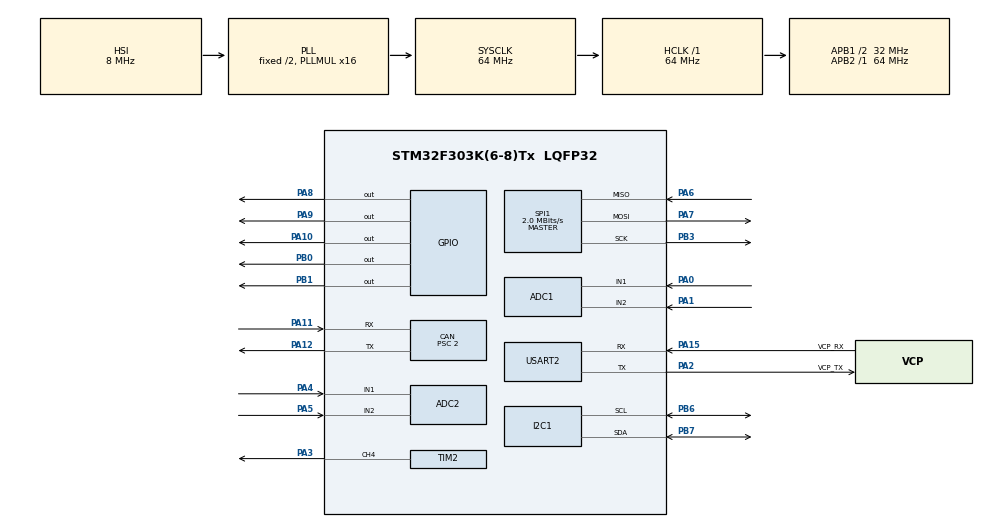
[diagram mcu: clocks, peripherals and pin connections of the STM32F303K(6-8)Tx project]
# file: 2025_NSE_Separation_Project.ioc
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ADC1.Channel-0\#ChannelRegularConversion=ADC_CHANNEL_1
ADC1.NbrOfConversionFlag=1
ADC1.Offset-0\#ChannelRegularConversion=0
ADC1.OffsetNumber-0\#ChannelRegularConversion=ADC_OFFSET_NONE
ADC1.Rank-0\#ChannelRegularConversion=1
ADC1.SamplingTime-0\#ChannelRegularConversion=ADC_SAMPLETIME_1CYCLE_5
ADC1.SubFamily=STM32F303x8
ADC1.master=1
ADC2.Channel-0\#ChannelRegularConversion=ADC_CHANNEL_1
ADC2.NbrOfConversionFlag=1
ADC2.Offset-0\#ChannelRegularConversion=0
ADC2.OffsetNumber-0\#ChannelRegularConversion=ADC_OFFSET_NONE
ADC2.Rank-0\#ChannelRegularConversion=1
ADC2.SamplingTime-0\#ChannelRegularConversion=ADC_SAMPLETIME_1CYCLE_5
ADC2.SubFamily=STM32F303x8
CAN.BS1=CAN_BS1_13TQ
CAN.BS2=CAN_BS2_2TQ
CAN.CalculateBaudRate=1000000
CAN.CalculateTimeBit=1000
CAN.CalculateTimeQuantum=62.5
CAN.Prescaler=2
I2C1.Timing=0x00201D2B
Mcu.Family=STM32F3
Mcu.Name=STM32F303K(6-8)Tx
Mcu.Package=LQFP32
NVIC.CAN_RX0_IRQn=true\:0\:0\:false\:false\:true\:true\:true\:true
NVIC.CAN_RX1_IRQn=true\:0\:0\:false\:false\:true\:true\:true\:true
NVIC.CAN_SCE_IRQn=true\:0\:0\:false\:false\:true\:true\:true\:true
NVIC.CAN_TX_IRQn=true\:0\:0\:false\:false\:true\:true\:true\:true
NVIC.PriorityGroup=NVIC_PRIORITYGROUP_4
PA0.Mode=IN1-Single-Ended
PA0.Signal=ADC1_IN1
PA1.Mode=IN2-Single-Ended
PA1.Signal=ADC1_IN2
PA10.Signal=GPIO_Output
PA11.Mode=CAN_Activate
PA11.Signal=CAN_RX
PA12.Mode=CAN_Activate
PA12.Signal=CAN_TX
PA13.GPIO_Label=SWDIO
PA13.Mode=Serial_Wire
PA13.Signal=SYS_JTMS-SWDIO
PA14.GPIO_Label=SWCLK
PA14.Mode=Serial_Wire
PA14.Signal=SYS_JTCK-SWCLK
PA15.GPIO_Label=VCP_RX
PA15.Mode=Asynchronous
PA15.Signal=USART2_RX
PA2.GPIO_Label=VCP_TX
PA2.Mode=Asynchronous
PA2.Signal=USART2_TX
PA3.Signal=S_TIM2_CH4
PA4.Mode=IN1-Single-Ended
PA4.Signal=ADC2_IN1
PA5.Mode=IN2-Single-Ended
PA5.Signal=ADC2_IN2
PA6.Mode=Full_Duplex_Master
PA6.Signal=SPI1_MISO
PA7.Mode=Full_Duplex_Master
PA7.Signal=SPI1_MOSI
PA8.Signal=GPIO_Output
PA9.Signal=GPIO_Output
PB0.Signal=GPIO_Output
PB1.Signal=GPIO_Output
PB3.Mode=Full_Duplex_Master
PB3.Signal=SPI1_SCK
PB6.Mode=I2C
PB6.Signal=I2C1_SCL
PB7.Mode=I2C
PB7.Signal=I2C1_SDA
PF0\ /\ OSC_IN.GPIO_Label=MCO
PF0\ /\ OSC_IN.Mode=HSE-External-Clock-Source
PF0\ /\ OSC_IN.Signal=RCC_OSC_IN
ProjectManager.HeapSize=0x200
ProjectManager.StackSize=0x400
ProjectManager.TargetToolchain=CMake
RCC.AHBFreq_Value=64000000
RCC.APB1CLKDivider=RCC_HCLK_DIV2
RCC.APB1Freq_Value=32000000
RCC.APB1TimFreq_Value=64000000
RCC.APB2Freq_Value=64000000
RCC.APB2TimFreq_Value=64000000
RCC.CortexFreq_Value=64000000
RCC.HCLKFreq_Value=64000000
RCC.HSE_VALUE=8000000
RCC.HSI_VALUE=8000000
RCC.PLLMUL=RCC_PLL_MUL16
RCC.SYSCLKFreq_VALUE=64000000
RCC.SYSCLKSourceVirtual=RCC_SYSCLKSOURCE_PLLCLK
SH.S_TIM2_CH4.0=TIM2_CH4,PWM Generation4 CH4
SPI1.BaudRatePrescaler=SPI_BAUDRATEPRESCALER_32
SPI1.CalculateBaudRate=2.0 MBits/s
SPI1.Direction=SPI_DIRECTION_2LINES
SPI1.Mode=SPI_MODE_MASTER
SPI1.VirtualType=VM_MASTER
TIM2.Channel-PWM\ Generation4\ CH4=TIM_CHANNEL_4
TIM2.Period=80
USART2.VirtualMode-Asynchronous=VM_ASYNC
VP_TIM2_VS_ClockSourceINT.Mode=Internal
board=NUCLEO-F303K8

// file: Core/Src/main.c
/* USER CODE BEGIN Header */
/**
  ******************************************************************************
  * @file           : main.c
  * @brief          : Main program body
  ******************************************************************************
  * @attention
  *
  * Copyright (c) 2024 STMicroelectronics.
  * All rights reserved.
  *
  * This software is licensed under terms that can be found in the LICENSE file
  * in the root directory of this software component.
  * If no LICENSE file comes with this software, it is provided AS-IS.
  *
  ******************************************************************************
  */
/* USER CODE END Header */
#include "main.h"

/* USER CODE BEGIN Includes */
#include <stdio.h>

#include "bmp280.h"

/* USER CODE END Includes */

ADC_HandleTypeDef hadc1;
ADC_HandleTypeDef hadc2;

CAN_HandleTypeDef hcan;

I2C_HandleTypeDef hi2c1;

SPI_HandleTypeDef hspi1;

TIM_HandleTypeDef htim2;

UART_HandleTypeDef huart2;

/* USER CODE BEGIN PV */
BMP280_HandleTypedef bmp280;

float pressure, temperature, humidity;

uint16_t size;
uint8_t Data[256];
static bool flag = false;
float current;
float pressure;
/* USER CODE END PV */

void SystemClock_Config(void);
static void MX_GPIO_Init(void);
static void MX_USART2_UART_Init(void);
static void MX_ADC1_Init(void);
static void MX_ADC2_Init(void);
static void MX_CAN_Init(void);
static void MX_I2C1_Init(void);
static void MX_SPI1_Init(void);
static void MX_TIM2_Init(void);
/* USER CODE BEGIN PFP */
void send_CAN_Message(uint32_t stdId, uint8_t *data, uint8_t dlc);
void CAN_Receive(CAN_HandleTypeDef *hcan);
float GetAccl();
void ReadPressAndWriteToNORFlash();
/* USER CODE END PFP */

int main(void)
{

  /* MCU Configuration--------------------------------------------------------*/

  /* Reset of all peripherals, Initializes the Flash interface and the Systick. */
  HAL_Init();

  /* Configure the system clock */
  SystemClock_Config();

  /* Initialize all configured peripherals */
  MX_GPIO_Init();
  MX_USART2_UART_Init();
  MX_ADC1_Init();
  MX_ADC2_Init();
  MX_CAN_Init();
  MX_I2C1_Init();
  MX_SPI1_Init();
  MX_TIM2_Init();
  /* USER CODE BEGIN 2 */
  /*
  bmp280.addr = BMP280_I2C_ADDRESS_0;
  bmp280.i2c = &hi2c1;

bmp280_init_default_params(&bmp280.params);
  while (!bmp280_init(&bmp280, &bmp280.params))
  {
	  printf("BME280 initialization failed\r\n");
	  HAL_Delay(2000);
  }
*/

  HAL_TIM_PWM_Start(&htim2, TIM_CHANNEL_4);
  __HAL_TIM_SET_COMPARE(&htim2, TIM_CHANNEL_4, 10);

  /*
  HAL_Delay(4000);
  HAL_TIM_PWM_Stop(&htim2, TIM_CHANNEL_4);
  */
  /*ココ！！*/

  CAN_FilterTypeDef filter;
  filter.FilterActivation = 1;
  filter.FilterBank = 0;
  filter.FilterFIFOAssignment = 0;
  filter.FilterMode = CAN_FILTERMODE_IDMASK;
  filter.FilterScale = CAN_FILTERSCALE_32BIT;
  filter.FilterIdHigh = 0x0000;
  filter.FilterIdLow = 0x0000;
  filter.FilterMaskIdHigh = 0x0000;
  filter.FilterMaskIdLow = 0x0000;
  HAL_CAN_ConfigFilter(&hcan, &filter);

  HAL_CAN_Start(&hcan);
  HAL_CAN_ActivateNotification(&hcan, CAN_IT_RX_FIFO0_MSG_PENDING);

/* BME280のプログラム
	HAL_Delay(100);
		while (!bmp280_read_float(&bmp280, &temperature, &pressure, &humidity))
		{
			printf("Temperature/pressure reading failed\r\n");
			HAL_Delay(2000);
		}

		printf("Pressure: %d Pa, Temperature: %d C\r\n",(int)pressure, (int)temperature*100);
		//printf(", Humidity: %d\r\n", humidity*100);

	HAL_Delay(2000);

*/

  typedef enum {
    SEP_Phase_0,
    SEP_Phase_1,
    SEP_Phase_2,
    SEP_Phase_3
  } SystemPhase_t;

  //フェーズ保持・初期フェーズ設定
  SystemPhase_t SEP_Phase = SEP_Phase_0;

  //SEP_Phase_2の開始時刻設定
  uint32_t Phase2_StartTime = 0;

  //タイマーの閾値（分離ニクロム線加熱終了から30秒）
  const uint32_t ThresholdTime = 30000;

  /* USER CODE END 2 */

  /* Infinite loop */
  /* USER CODE BEGIN WHILE */

  //分離の独自フェーズ

  while (1)
  {

    //send_CAN_Message(0x123, Data, 8);
    //CAN_Receive(&hcan);

    //気圧データをNORフラッシュに記録する関数
    ReadPressAndWriteToNORFlash();

    switch (SEP_Phase) {
      //SEP_Phase_0: 電源ON → 頂点検知（MAIN）
      //SEP_Phase_1: 分離ニクロム線加熱
      //SEP_Phase_2: [終端検知　 → リーフィングニクロム線加熱] OR [タイマー → リーフィングニクロム線加熱]
      //SEP_Phase_3: 全ニクロム線加熱終了

      case SEP_Phase_0:

          if (flag = true) {
            SEP_Phase = SEP_Phase_1;
          }
          break;

      case SEP_Phase_1:
          HAL_TIM_PWM_Start(&htim2, TIM_CHANNEL_4);
          __HAL_TIM_SET_COMPARE(&htim2, TIM_CHANNEL_4, 10);
          HAL_Delay(4000);
          HAL_TIM_PWM_Stop(&htim2, TIM_CHANNEL_4);
          /*もう一つのニクロム線加熱*/
          SEP_Phase = SEP_Phase_2;
          Phase2_StartTime = HAL_GetTick();
          break;

      case SEP_Phase_2:
          if (GetAccl() == 0) {
            /*ニクロム線加熱×２*/
            SEP_Phase = SEP_Phase_3;

          } else if ((HAL_GetTick() - Phase2_StartTime) >= ThresholdTime) {
            /*ニクロム線加熱×２*/
            SEP_Phase = SEP_Phase_3;
          }
          break;

      case SEP_Phase_3:
          break;

      default:
          break;
    }

    /* USER CODE END WHILE */

  }
}

void SystemClock_Config(void)
{
  RCC_OscInitTypeDef RCC_OscInitStruct = {0};
  RCC_ClkInitTypeDef RCC_ClkInitStruct = {0};
  RCC_PeriphCLKInitTypeDef PeriphClkInit = {0};

  /** Initializes the RCC Oscillators according to the specified parameters
  * in the RCC_OscInitTypeDef structure.
  */
  RCC_OscInitStruct.OscillatorType = RCC_OSCILLATORTYPE_HSI;
  RCC_OscInitStruct.HSIState = RCC_HSI_ON;
  RCC_OscInitStruct.HSICalibrationValue = RCC_HSICALIBRATION_DEFAULT;
  RCC_OscInitStruct.PLL.PLLState = RCC_PLL_ON;
  RCC_OscInitStruct.PLL.PLLSource = RCC_PLLSOURCE_HSI;
  RCC_OscInitStruct.PLL.PLLMUL = RCC_PLL_MUL16;
  if (HAL_RCC_OscConfig(&RCC_OscInitStruct) != HAL_OK)
  {
    Error_Handler();
  }

  /** Initializes the CPU, AHB and APB buses clocks
  */
  RCC_ClkInitStruct.ClockType = RCC_CLOCKTYPE_HCLK|RCC_CLOCKTYPE_SYSCLK
                              |RCC_CLOCKTYPE_PCLK1|RCC_CLOCKTYPE_PCLK2;
  RCC_ClkInitStruct.SYSCLKSource = RCC_SYSCLKSOURCE_PLLCLK;
  RCC_ClkInitStruct.AHBCLKDivider = RCC_SYSCLK_DIV1;
  RCC_ClkInitStruct.APB1CLKDivider = RCC_HCLK_DIV2;
  RCC_ClkInitStruct.APB2CLKDivider = RCC_HCLK_DIV1;

  if (HAL_RCC_ClockConfig(&RCC_ClkInitStruct, FLASH_LATENCY_2) != HAL_OK)
  {
    Error_Handler();
  }
  PeriphClkInit.PeriphClockSelection = RCC_PERIPHCLK_I2C1|RCC_PERIPHCLK_ADC12;
  PeriphClkInit.Adc12ClockSelection = RCC_ADC12PLLCLK_DIV1;
  PeriphClkInit.I2c1ClockSelection = RCC_I2C1CLKSOURCE_HSI;
  if (HAL_RCCEx_PeriphCLKConfig(&PeriphClkInit) != HAL_OK)
  {
    Error_Handler();
  }
}

static void MX_ADC1_Init(void)
{

  ADC_MultiModeTypeDef multimode = {0};
  ADC_ChannelConfTypeDef sConfig = {0};

  /** Common config
  */
  hadc1.Instance = ADC1;
  hadc1.Init.ClockPrescaler = ADC_CLOCK_ASYNC_DIV1;
  hadc1.Init.Resolution = ADC_RESOLUTION_12B;
  hadc1.Init.ScanConvMode = ADC_SCAN_DISABLE;
  hadc1.Init.ContinuousConvMode = DISABLE;
  hadc1.Init.DiscontinuousConvMode = DISABLE;
  hadc1.Init.ExternalTrigConvEdge = ADC_EXTERNALTRIGCONVEDGE_NONE;
  hadc1.Init.ExternalTrigConv = ADC_SOFTWARE_START;
  hadc1.Init.DataAlign = ADC_DATAALIGN_RIGHT;
  hadc1.Init.NbrOfConversion = 1;
  hadc1.Init.DMAContinuousRequests = DISABLE;
  hadc1.Init.EOCSelection = ADC_EOC_SINGLE_CONV;
  hadc1.Init.LowPowerAutoWait = DISABLE;
  hadc1.Init.Overrun = ADC_OVR_DATA_OVERWRITTEN;
  if (HAL_ADC_Init(&hadc1) != HAL_OK)
  {
    Error_Handler();
  }

  /** Configure the ADC multi-mode
  */
  multimode.Mode = ADC_MODE_INDEPENDENT;
  if (HAL_ADCEx_MultiModeConfigChannel(&hadc1, &multimode) != HAL_OK)
  {
    Error_Handler();
  }

  /** Configure Regular Channel
  */
  sConfig.Channel = ADC_CHANNEL_1;
  sConfig.Rank = ADC_REGULAR_RANK_1;
  sConfig.SingleDiff = ADC_SINGLE_ENDED;
  sConfig.SamplingTime = ADC_SAMPLETIME_1CYCLE_5;
  sConfig.OffsetNumber = ADC_OFFSET_NONE;
  sConfig.Offset = 0;
  if (HAL_ADC_ConfigChannel(&hadc1, &sConfig) != HAL_OK)
  {
    Error_Handler();
  }

}

static void MX_ADC2_Init(void)
{

  ADC_ChannelConfTypeDef sConfig = {0};

  /** Common config
  */
  hadc2.Instance = ADC2;
  hadc2.Init.ClockPrescaler = ADC_CLOCK_ASYNC_DIV1;
  hadc2.Init.Resolution = ADC_RESOLUTION_12B;
  hadc2.Init.ScanConvMode = ADC_SCAN_DISABLE;
  hadc2.Init.ContinuousConvMode = DISABLE;
  hadc2.Init.DiscontinuousConvMode = DISABLE;
  hadc2.Init.ExternalTrigConvEdge = ADC_EXTERNALTRIGCONVEDGE_NONE;
  hadc2.Init.ExternalTrigConv = ADC_SOFTWARE_START;
  hadc2.Init.DataAlign = ADC_DATAALIGN_RIGHT;
  hadc2.Init.NbrOfConversion = 1;
  hadc2.Init.DMAContinuousRequests = DISABLE;
  hadc2.Init.EOCSelection = ADC_EOC_SINGLE_CONV;
  hadc2.Init.LowPowerAutoWait = DISABLE;
  hadc2.Init.Overrun = ADC_OVR_DATA_OVERWRITTEN;
  if (HAL_ADC_Init(&hadc2) != HAL_OK)
  {
    Error_Handler();
  }

  /** Configure Regular Channel
  */
  sConfig.Channel = ADC_CHANNEL_1;
  sConfig.Rank = ADC_REGULAR_RANK_1;
  sConfig.SingleDiff = ADC_SINGLE_ENDED;
  sConfig.SamplingTime = ADC_SAMPLETIME_1CYCLE_5;
  sConfig.OffsetNumber = ADC_OFFSET_NONE;
  sConfig.Offset = 0;
  if (HAL_ADC_ConfigChannel(&hadc2, &sConfig) != HAL_OK)
  {
    Error_Handler();
  }

}

static void MX_CAN_Init(void)
{

  hcan.Instance = CAN;
  hcan.Init.Prescaler = 2;
  hcan.Init.Mode = CAN_MODE_NORMAL;
  hcan.Init.SyncJumpWidth = CAN_SJW_1TQ;
  hcan.Init.TimeSeg1 = CAN_BS1_13TQ;
  hcan.Init.TimeSeg2 = CAN_BS2_2TQ;
  hcan.Init.TimeTriggeredMode = DISABLE;
  hcan.Init.AutoBusOff = DISABLE;
  hcan.Init.AutoWakeUp = DISABLE;
  hcan.Init.AutoRetransmission = DISABLE;
  hcan.Init.ReceiveFifoLocked = DISABLE;
  hcan.Init.TransmitFifoPriority = DISABLE;
  if (HAL_CAN_Init(&hcan) != HAL_OK)
  {
    Error_Handler();
  }

}

static void MX_I2C1_Init(void)
{

  hi2c1.Instance = I2C1;
  hi2c1.Init.Timing = 0x00201D2B;
  hi2c1.Init.OwnAddress1 = 0;
  hi2c1.Init.AddressingMode = I2C_ADDRESSINGMODE_7BIT;
  hi2c1.Init.DualAddressMode = I2C_DUALADDRESS_DISABLE;
  hi2c1.Init.OwnAddress2 = 0;
  hi2c1.Init.OwnAddress2Masks = I2C_OA2_NOMASK;
  hi2c1.Init.GeneralCallMode = I2C_GENERALCALL_DISABLE;
  hi2c1.Init.NoStretchMode = I2C_NOSTRETCH_DISABLE;
  if (HAL_I2C_Init(&hi2c1) != HAL_OK)
  {
    Error_Handler();
  }

  /** Configure Analogue filter
  */
  if (HAL_I2CEx_ConfigAnalogFilter(&hi2c1, I2C_ANALOGFILTER_ENABLE) != HAL_OK)
  {
    Error_Handler();
  }

  /** Configure Digital filter
  */
  if (HAL_I2CEx_ConfigDigitalFilter(&hi2c1, 0) != HAL_OK)
  {
    Error_Handler();
  }

}

static void MX_SPI1_Init(void)
{

  /* SPI1 parameter configuration*/
  hspi1.Instance = SPI1;
  hspi1.Init.Mode = SPI_MODE_MASTER;
  hspi1.Init.Direction = SPI_DIRECTION_2LINES;
  hspi1.Init.DataSize = SPI_DATASIZE_4BIT;
  hspi1.Init.CLKPolarity = SPI_POLARITY_LOW;
  hspi1.Init.CLKPhase = SPI_PHASE_1EDGE;
  hspi1.Init.NSS = SPI_NSS_SOFT;
  hspi1.Init.BaudRatePrescaler = SPI_BAUDRATEPRESCALER_32;
  hspi1.Init.FirstBit = SPI_FIRSTBIT_MSB;
  hspi1.Init.TIMode = SPI_TIMODE_DISABLE;
  hspi1.Init.CRCCalculation = SPI_CRCCALCULATION_DISABLE;
  hspi1.Init.CRCPolynomial = 7;
  hspi1.Init.CRCLength = SPI_CRC_LENGTH_DATASIZE;
  hspi1.Init.NSSPMode = SPI_NSS_PULSE_ENABLE;
  if (HAL_SPI_Init(&hspi1) != HAL_OK)
  {
    Error_Handler();
  }

}

static void MX_TIM2_Init(void)
{

  TIM_ClockConfigTypeDef sClockSourceConfig = {0};
  TIM_MasterConfigTypeDef sMasterConfig = {0};
  TIM_OC_InitTypeDef sConfigOC = {0};

  htim2.Instance = TIM2;
  htim2.Init.Prescaler = 0;
  htim2.Init.CounterMode = TIM_COUNTERMODE_UP;
  htim2.Init.Period = 80;
  htim2.Init.ClockDivision = TIM_CLOCKDIVISION_DIV1;
  htim2.Init.AutoReloadPreload = TIM_AUTORELOAD_PRELOAD_DISABLE;
  if (HAL_TIM_Base_Init(&htim2) != HAL_OK)
  {
    Error_Handler();
  }
  sClockSourceConfig.ClockSource = TIM_CLOCKSOURCE_INTERNAL;
  if (HAL_TIM_ConfigClockSource(&htim2, &sClockSourceConfig) != HAL_OK)
  {
    Error_Handler();
  }
  if (HAL_TIM_PWM_Init(&htim2) != HAL_OK)
  {
    Error_Handler();
  }
  sMasterConfig.MasterOutputTrigger = TIM_TRGO_RESET;
  sMasterConfig.MasterSlaveMode = TIM_MASTERSLAVEMODE_DISABLE;
  if (HAL_TIMEx_MasterConfigSynchronization(&htim2, &sMasterConfig) != HAL_OK)
  {
    Error_Handler();
  }
  sConfigOC.OCMode = TIM_OCMODE_PWM1;
  sConfigOC.Pulse = 0;
  sConfigOC.OCPolarity = TIM_OCPOLARITY_HIGH;
  sConfigOC.OCFastMode = TIM_OCFAST_DISABLE;
  if (HAL_TIM_PWM_ConfigChannel(&htim2, &sConfigOC, TIM_CHANNEL_4) != HAL_OK)
  {
    Error_Handler();
  }
  HAL_TIM_MspPostInit(&htim2);

}

static void MX_USART2_UART_Init(void)
{

  huart2.Instance = USART2;
  huart2.Init.BaudRate = 38400;
  huart2.Init.WordLength = UART_WORDLENGTH_8B;
  huart2.Init.StopBits = UART_STOPBITS_1;
  huart2.Init.Parity = UART_PARITY_NONE;
  huart2.Init.Mode = UART_MODE_TX_RX;
  huart2.Init.HwFlowCtl = UART_HWCONTROL_NONE;
  huart2.Init.OverSampling = UART_OVERSAMPLING_16;
  huart2.Init.OneBitSampling = UART_ONE_BIT_SAMPLE_DISABLE;
  huart2.AdvancedInit.AdvFeatureInit = UART_ADVFEATURE_NO_INIT;
  if (HAL_UART_Init(&huart2) != HAL_OK)
  {
    Error_Handler();
  }

}

static void MX_GPIO_Init(void)
{
  GPIO_InitTypeDef GPIO_InitStruct = {0};

  /* GPIO Ports Clock Enable */
  __HAL_RCC_GPIOF_CLK_ENABLE();
  __HAL_RCC_GPIOA_CLK_ENABLE();
  __HAL_RCC_GPIOB_CLK_ENABLE();

  /*Configure GPIO pin Output Level */
  HAL_GPIO_WritePin(GPIOB, GPIO_PIN_0|GPIO_PIN_1, GPIO_PIN_RESET);

  /*Configure GPIO pin Output Level */
  HAL_GPIO_WritePin(GPIOA, GPIO_PIN_8|GPIO_PIN_9|GPIO_PIN_10, GPIO_PIN_RESET);

  /*Configure GPIO pins : PB0 PB1 */
  GPIO_InitStruct.Pin = GPIO_PIN_0|GPIO_PIN_1;
  GPIO_InitStruct.Mode = GPIO_MODE_OUTPUT_PP;
  GPIO_InitStruct.Pull = GPIO_NOPULL;
  GPIO_InitStruct.Speed = GPIO_SPEED_FREQ_LOW;
  HAL_GPIO_Init(GPIOB, &GPIO_InitStruct);

  /*Configure GPIO pins : PA8 PA9 PA10 */
  GPIO_InitStruct.Pin = GPIO_PIN_8|GPIO_PIN_9|GPIO_PIN_10;
  GPIO_InitStruct.Mode = GPIO_MODE_OUTPUT_PP;
  GPIO_InitStruct.Pull = GPIO_NOPULL;
  GPIO_InitStruct.Speed = GPIO_SPEED_FREQ_LOW;
  HAL_GPIO_Init(GPIOA, &GPIO_InitStruct);

}

/* USER CODE BEGIN 4 */
int _write(int file, char *ptr, int len)
{
	HAL_UART_Transmit(&huart2, (uint8_t *)ptr, len, 10);
	return len;
}

float GetAccl()
{
  /*
  float prev = ;
  float prev2 = ;
  const float GAMMA = 6.5; // (温度変化率（10kmまでは6.5[K/km]）) [K/km]
  const float RM = 287; // (気体定数)/(空気の分子量) [J/K・kg]
  const float g = 9.81; //重力加速度 [m/s^2]
  const float alpha = GAMMA * RM / g;
  const float T0 = ; //[K]
  const float p0 = ; //

  const float dp = (current - prev) * 50; //pの時間一階微分　（ [差分] / 間隔(50Hz) ）
  const float d2p = (current + prev2 - 2 * prev) * 2500; //pの時間二階微分（　([今] + [二個前] - 2[一個前]) / [間隔（５０Hz）]^2 ）

  const float Numerator = pow(current, (alpha - 2)) * RM * T0; //p^(α-2)*RM*T0
  const float Denominator = pow(p0, alpha) * g; //p0^α*g

  const float Accl = (Numerator / Denominator) * ((alpha -1 ) * pow(dp, 2) + current * d2p);
  return Accl;
  */
}
void send_CAN_Message(uint32_t stdId, uint8_t *data, uint8_t dlc)
{
  CAN_TxHeaderTypeDef txHeader;
  uint32_t txMailbox;
  uint8_t txData[8];
  txHeader.StdId = stdId;
  txHeader.DLC = dlc;
  txHeader.TransmitGlobalTime = DISABLE;
  for (int i = 0; i < dlc; i++)
  {
    txData[i] = data[i];
  }

  while (HAL_CAN_GetTxMailboxesFreeLevel(&hcan) == 0);
  if (HAL_CAN_AddTxMessage(&hcan, &txHeader, txData, &txMailbox) != HAL_OK)
  {

    Error_Handler();
  }
}

void CAN_Receive(CAN_HandleTypeDef *hcan)
{
  CAN_RxHeaderTypeDef rxHeader;
  uint8_t rxData[8];

  // 受信FIFOにメッセージがあるか確認
  if (HAL_CAN_GetRxFifoFillLevel(hcan, CAN_RX_FIFO0) > 0)
  {
    // メッセージを受信
    if (HAL_CAN_GetRxMessage(hcan, CAN_RX_FIFO0, &rxHeader, rxData) == HAL_OK)
    {
    }
    else
    {
      printf("受信エラー\n");
    }
  }
}

void HAL_CAN_RxFifo0MsgPendingCallback(CAN_HandleTypeDef *hcan1)
{
  CAN_RxHeaderTypeDef RxHeader; // 受信メッセージの情報が格納されるインスタンス
  uint8_t RxData[8] = {0};            // 受信したデータを一時保存する配列
  if (HAL_CAN_GetRxMessage(hcan1, CAN_RX_FIFO0, &RxHeader, RxData) == HAL_OK)
  {
    if(RxHeader.StdId == 0x123){
        if (RxData[0] == 'S')
        {
          flag = true;
        }
    }else if(RxHeader.StdId == 0x124){
      memcpy(&pressure, RxData, sizeof(float));

    }

  }
}

void ReadPressAndWriteToNORFlash(){

}
/* USER CODE END 4 */

void Error_Handler(void)
{
  __disable_irq();
  while (1)
  {
  }
}
